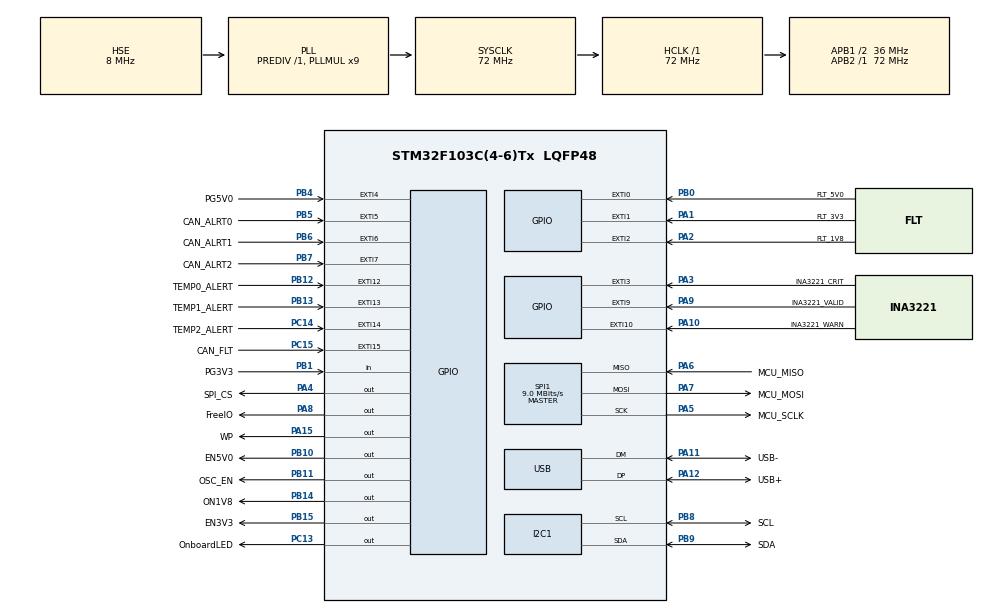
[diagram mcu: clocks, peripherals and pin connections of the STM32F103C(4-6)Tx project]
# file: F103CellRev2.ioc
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Mcu.Family=STM32F1
Mcu.Name=STM32F103C(4-6)Tx
Mcu.Package=LQFP48
NVIC.EXTI0_IRQn=true\:0\:0\:false\:false\:true\:true\:true\:true
NVIC.EXTI15_10_IRQn=true\:0\:0\:false\:false\:true\:true\:true\:true
NVIC.EXTI1_IRQn=true\:0\:0\:false\:false\:true\:true\:true\:true
NVIC.EXTI2_IRQn=true\:0\:0\:false\:false\:true\:true\:true\:true
NVIC.EXTI3_IRQn=true\:0\:0\:false\:false\:true\:true\:true\:true
NVIC.EXTI4_IRQn=true\:0\:0\:false\:false\:true\:true\:true\:true
NVIC.EXTI9_5_IRQn=true\:0\:0\:false\:false\:true\:true\:true\:true
NVIC.PriorityGroup=NVIC_PRIORITYGROUP_4
PA0-WKUP.GPIO_Label=WAKE
PA0-WKUP.Mode=SYS_WakeUp0
PA0-WKUP.Signal=SYS_WKUP
PA1.GPIO_Label=FLT_3V3
PA1.GPIO_ModeDefaultEXTI=GPIO_MODE_IT_FALLING
PA1.Signal=GPXTI1
PA10.GPIO_Label=INA3221_WARN
PA10.GPIO_ModeDefaultEXTI=GPIO_MODE_IT_FALLING
PA10.Signal=GPXTI10
PA11.GPIO_Label=USB-
PA11.Mode=Device
PA11.Signal=USB_DM
PA12.GPIO_Label=USB+
PA12.Mode=Device
PA12.Signal=USB_DP
PA13.Mode=Serial_Wire
PA13.Signal=SYS_JTMS-SWDIO
PA14.Mode=Serial_Wire
PA14.Signal=SYS_JTCK-SWCLK
PA15.GPIO_Label=WP
PA15.PinState=GPIO_PIN_SET
PA15.Signal=GPIO_Output
PA2.GPIO_Label=FLT_1V8
PA2.GPIO_ModeDefaultEXTI=GPIO_MODE_IT_FALLING
PA2.Signal=GPXTI2
PA3.GPIO_Label=INA3221_CRIT
PA3.GPIO_ModeDefaultEXTI=GPIO_MODE_IT_FALLING
PA3.Signal=GPXTI3
PA4.GPIO_Label=SPI_CS
PA4.PinState=GPIO_PIN_SET
PA4.Signal=GPIO_Output
PA5.GPIO_Label=MCU_SCLK
PA5.Mode=Full_Duplex_Master
PA5.Signal=SPI1_SCK
PA6.GPIO_Label=MCU_MISO
PA6.Mode=Full_Duplex_Master
PA6.Signal=SPI1_MISO
PA7.GPIO_Label=MCU_MOSI
PA7.Mode=Full_Duplex_Master
PA7.Signal=SPI1_MOSI
PA8.GPIO_Label=FreeIO
PA8.Signal=GPIO_Output
PA9.GPIO_Label=INA3221_VALID
PA9.GPIO_ModeDefaultEXTI=GPIO_MODE_IT_FALLING
PA9.Signal=GPXTI9
PB0.GPIO_Label=FLT_5V0
PB0.GPIO_ModeDefaultEXTI=GPIO_MODE_IT_FALLING
PB0.Signal=GPXTI0
PB1.GPIO_Label=PG3V3
PB1.Signal=GPIO_Input
PB10.GPIO_Label=EN5V0
PB10.PinState=GPIO_PIN_SET
PB10.Signal=GPIO_Output
PB11.GPIO_Label=OSC_EN
PB11.Signal=GPIO_Output
PB12.GPIO_Label=TEMP0_ALERT
PB12.GPIO_ModeDefaultEXTI=GPIO_MODE_IT_FALLING
PB12.Signal=GPXTI12
PB13.GPIO_Label=TEMP1_ALERT
PB13.GPIO_ModeDefaultEXTI=GPIO_MODE_IT_FALLING
PB13.Signal=GPXTI13
PB14.GPIO_Label=ON1V8
PB14.Signal=GPIO_Output
PB15.GPIO_Label=EN3V3
PB15.PinState=GPIO_PIN_SET
PB15.Signal=GPIO_Output
PB3.GPIO_Label=SingleWireOutput
PB3.Signal=SYS_JTDO-TRACESWO
PB4.GPIO_Label=PG5V0
PB4.GPIO_ModeDefaultEXTI=GPIO_MODE_IT_FALLING
PB4.Signal=GPXTI4
PB5.GPIO_Label=CAN_ALRT0
PB5.GPIO_ModeDefaultEXTI=GPIO_MODE_IT_FALLING
PB5.Signal=GPXTI5
PB6.GPIO_Label=CAN_ALRT1
PB6.GPIO_ModeDefaultEXTI=GPIO_MODE_IT_FALLING
PB6.Signal=GPXTI6
PB7.GPIO_Label=CAN_ALRT2
PB7.GPIO_ModeDefaultEXTI=GPIO_MODE_IT_FALLING
PB7.Signal=GPXTI7
PB8.GPIO_Label=SCL
PB8.Mode=I2C
PB8.Signal=I2C1_SCL
PB9.GPIO_Label=SDA
PB9.Mode=I2C
PB9.Signal=I2C1_SDA
PC13-TAMPER-RTC.GPIO_Label=OnboardLED
PC13-TAMPER-RTC.Signal=GPIO_Output
PC14-OSC32_IN.GPIO_Label=TEMP2_ALERT
PC14-OSC32_IN.GPIO_ModeDefaultEXTI=GPIO_MODE_IT_FALLING
PC14-OSC32_IN.Signal=GPXTI14
PC15-OSC32_OUT.GPIO_Label=CAN_FLT
PC15-OSC32_OUT.GPIO_ModeDefaultEXTI=GPIO_MODE_IT_FALLING
PC15-OSC32_OUT.Signal=GPXTI15
PD0-OSC_IN.Mode=HSE-External-Oscillator
PD0-OSC_IN.Signal=RCC_OSC_IN
PD1-OSC_OUT.Mode=HSE-External-Oscillator
PD1-OSC_OUT.Signal=RCC_OSC_OUT
ProjectManager.HeapSize=0x200
ProjectManager.StackSize=0x400
ProjectManager.TargetToolchain=STM32CubeIDE
RCC.AHBFreq_Value=72000000
RCC.APB1CLKDivider=RCC_HCLK_DIV2
RCC.APB1Freq_Value=36000000
RCC.APB1TimFreq_Value=72000000
RCC.APB2Freq_Value=72000000
RCC.APB2TimFreq_Value=72000000
RCC.HCLKFreq_Value=72000000
RCC.PLLMUL=RCC_PLL_MUL9
RCC.PLLSourceVirtual=RCC_PLLSOURCE_HSE
RCC.SYSCLKFreq_VALUE=72000000
RCC.SYSCLKSource=RCC_SYSCLKSOURCE_PLLCLK
RCC.USBFreq_Value=48000000
RCC.USBPrescaler=RCC_USBCLKSOURCE_PLL_DIV1_5
SPI1.BaudRatePrescaler=SPI_BAUDRATEPRESCALER_8
SPI1.CalculateBaudRate=9.0 MBits/s
SPI1.Direction=SPI_DIRECTION_2LINES
SPI1.Mode=SPI_MODE_MASTER
SPI1.VirtualType=VM_MASTER
VP_IWDG_VS_IWDG.Mode=IWDG_Activate
board=custom

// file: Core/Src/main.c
/* USER CODE BEGIN Header */

/**
  ******************************************************************************
  * @file           : main.c
  * @brief          : Main program body
  ******************************************************************************
  * @attention
  *
  * Copyright (c) 2026 STMicroelectronics.
  * All rights reserved.
  *
  * This software is licensed under terms that can be found in the LICENSE file
  * in the root directory of this software component.
  * If no LICENSE file comes with this software, it is provided AS-IS.
  *
  ******************************************************************************
  */
/* USER CODE END Header */
#include "main.h"
#include "i2c.h"
#include "iwdg.h"
#include "spi.h"
#include "usb.h"
#include "gpio.h"

/* USER CODE BEGIN Includes */
#include "power_ctrl.h"
#include "ina3221_port.h"
#include "tmp75b_port.h"
#include "fram_port.h"
#include "mcp_port.h"
#include "can_ctrl.h"
#include "fault_ctrl.h"
#include "telemetry.h"
#include "self_test.h"
/*
 *
 Hardware interrupts
       |
       v
app_callbacks.c  (HAL_GPIO_EXTI_Callback)
       |
       +---> power_fault_irq_handler()   -- sets power fault flags
       +---> tmp75b_alert_irq_handler()  -- sets temp alert flags
       +---> can_ctrl_fault_irq_handler() -- sets CAN fault flags
       |
       v
fault_ctrl_process()  <-- called every main loop iteration
       |
       +-- collects flags from all modules
       +-- polls INA3221 mask register
       +-- polls PG5V0 pin
       +-- classifies severity tier
       |
       +-- TIER 1 WARNING   --> log to FRAM + CAN status frame
       +-- TIER 2 CRITICAL  --> disable rail + ESP32 alert + log + CAN
       +-- TIER 3 EMERGENCY --> full power down + ESP32 alert + log + CAN
 */
/* USER CODE END Includes */

/* USER CODE BEGIN PD */
#define IWDG_TIMEOUT_MS     500u    /* Watchdog window — kick before this */
/* USER CODE END PD */

void SystemClock_Config(void);

int main(void)
{

  /* MCU Configuration--------------------------------------------------------*/

  /* Reset of all peripherals, Initializes the Flash interface and the Systick. */
  HAL_Init();

  /* Configure the system clock */
  SystemClock_Config();

  /* Initialize all configured peripherals */
  MX_GPIO_Init();
  MX_I2C1_Init();
  MX_SPI1_Init();
  MX_USB_PCD_Init();
  MX_IWDG_Init();
  /* USER CODE BEGIN 2 */

  power_result_t pwr_result = power_sequence_up();
  /* If rails failed, assert ESP32 alert immediately — process() won't run yet */
  if (pwr_result != POWER_OK)
  {
      FAULT_ALERT_ASSERT();
  }

  ina3221_status_t ina_st = ina3221_init();
  /* Non-fatal at boot — process() will detect via INA3221 reads failing */
  (void)ina_st;
  tmp75b_status_t tmp_st = tmp75b_init_all();
  (void)tmp_st;
  for (int s = TMP75B_SENSOR_0; s < TMP75B_SENSOR_COUNT; s++)
  {
      tmp75b_set_limits((tmp75b_sensor_t)s, 75000, 85000);
  }

  fram_drv_init(&hi2c1);   /* compiler-confirmed name */

  self_test_result_t st_result = self_test_run();
  if (!self_test_passed(st_result))
  {
      FAULT_ALERT_ASSERT();   /* alert ESP32 — self-test failure is always serious */
  }

  mcp_port_init_device_struct();

  can_ctrl_status_t can_st = can_ctrl_init();
  (void)can_st;
  /* CAN init failure doesn't halt — telemetry will silently drop until recovered */

  fault_ctrl_init();
  telemetry_init();

  /* USER CODE END 2 */

  /* Infinite loop */
  while (1)
  	  {

    /* USER CODE BEGIN 3 */
      	  HAL_IWDG_Refresh(&hiwdg);
      	  fault_ctrl_process();
      	  telemetry_process();
  	  }
  /* USER CODE END 3 */
}

void SystemClock_Config(void)
{
  RCC_OscInitTypeDef RCC_OscInitStruct = {0};
  RCC_ClkInitTypeDef RCC_ClkInitStruct = {0};
  RCC_PeriphCLKInitTypeDef PeriphClkInit = {0};

  /** Initializes the RCC Oscillators according to the specified parameters
  * in the RCC_OscInitTypeDef structure.
  */
  RCC_OscInitStruct.OscillatorType = RCC_OSCILLATORTYPE_LSI|RCC_OSCILLATORTYPE_HSE;
  RCC_OscInitStruct.HSEState = RCC_HSE_ON;
  RCC_OscInitStruct.HSEPredivValue = RCC_HSE_PREDIV_DIV1;
  RCC_OscInitStruct.HSIState = RCC_HSI_ON;
  RCC_OscInitStruct.LSIState = RCC_LSI_ON;
  RCC_OscInitStruct.PLL.PLLState = RCC_PLL_ON;
  RCC_OscInitStruct.PLL.PLLSource = RCC_PLLSOURCE_HSE;
  RCC_OscInitStruct.PLL.PLLMUL = RCC_PLL_MUL9;
  if (HAL_RCC_OscConfig(&RCC_OscInitStruct) != HAL_OK)
  {
    Error_Handler();
  }

  /** Initializes the CPU, AHB and APB buses clocks
  */
  RCC_ClkInitStruct.ClockType = RCC_CLOCKTYPE_HCLK|RCC_CLOCKTYPE_SYSCLK
                              |RCC_CLOCKTYPE_PCLK1|RCC_CLOCKTYPE_PCLK2;
  RCC_ClkInitStruct.SYSCLKSource = RCC_SYSCLKSOURCE_PLLCLK;
  RCC_ClkInitStruct.AHBCLKDivider = RCC_SYSCLK_DIV1;
  RCC_ClkInitStruct.APB1CLKDivider = RCC_HCLK_DIV2;
  RCC_ClkInitStruct.APB2CLKDivider = RCC_HCLK_DIV1;

  if (HAL_RCC_ClockConfig(&RCC_ClkInitStruct, FLASH_LATENCY_2) != HAL_OK)
  {
    Error_Handler();
  }
  PeriphClkInit.PeriphClockSelection = RCC_PERIPHCLK_USB;
  PeriphClkInit.UsbClockSelection = RCC_USBCLKSOURCE_PLL_DIV1_5;
  if (HAL_RCCEx_PeriphCLKConfig(&PeriphClkInit) != HAL_OK)
  {
    Error_Handler();
  }
}

void Error_Handler(void)
{
  __disable_irq();
  while (1)
  {
  }
}
